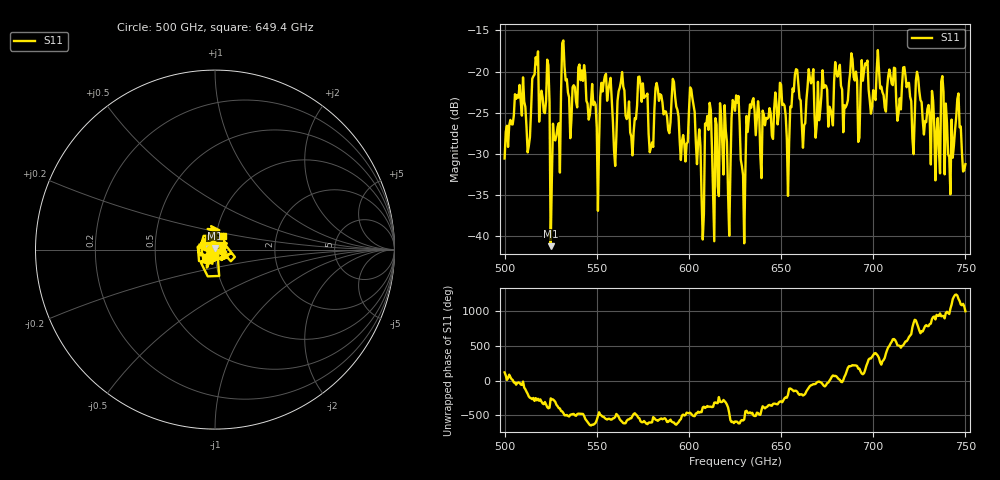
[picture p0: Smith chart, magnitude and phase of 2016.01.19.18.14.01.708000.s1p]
!Created with skrf (http://scikit-rf.org).
# GHz S RI R 50.0
!freq ReS11 ImS11
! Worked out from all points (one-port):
!   401 points, 500 GHz to 750 GHz, reference 50 ohm
!   lowest |S11| = -41.2 dB at 525 GHz (marker M1), VSWR 1.02, Z = 49.8 + j0.832 ohm
!   |S11| at or under -10 dB: start of sweep to end of sweep
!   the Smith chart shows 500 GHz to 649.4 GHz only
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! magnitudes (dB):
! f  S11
! 500 GHz  -30.6
! 506.9 GHz  -22.8
! 513.1 GHz  -29.0
! 516.9 GHz  -18.3
! 525 GHz  -41.2
! 531.2 GHz  -16.6
! 541.9 GHz  -19.9
! 550 GHz  -26.9
! 553.8 GHz  -21.3
! 560 GHz  -31.5
! 562.5 GHz  -21.9
! 579.4 GHz  -29.3
! 583.1 GHz  -22.1
! 593.8 GHz  -24.7
! 601.9 GHz  -23.2
! 606.9 GHz  -35.3
! 610.6 GHz  -27.1
! 621.9 GHz  -40.0
! 625 GHz  -24.8
! 629.4 GHz  -32.6
! 633.8 GHz  -24.4
! 653.8 GHz  -35.1
! 656.2 GHz  -22.1
! 687.5 GHz  -20.1
! 718.8 GHz  -21.5
! 735 GHz  -25.6
! 746.2 GHz  -22.7
! 750 GHz  -31.3
